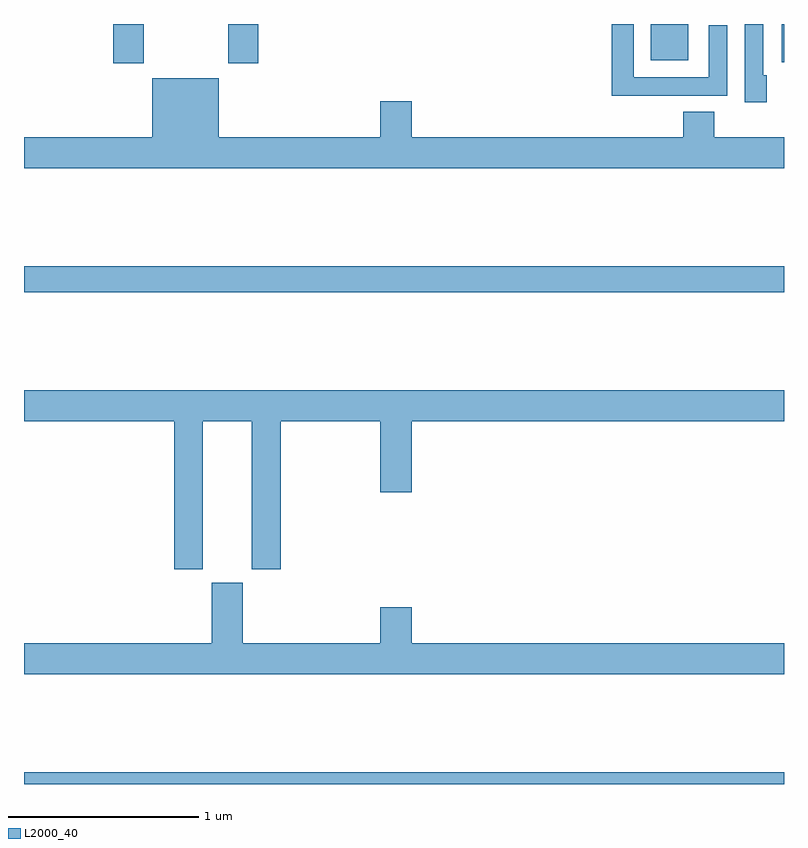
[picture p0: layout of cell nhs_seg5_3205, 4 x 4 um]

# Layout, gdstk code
import gdstk
lib = gdstk.Library(unit=1e-6, precision=1e-09)
def R(c, l, rs):  # rectangles x0, y0, x1, y1
    for r in rs: c.add(gdstk.rectangle(r[:2], r[2:], *l))
def P(c, l, *ps):  # polygons
    for p in ps: c.add(gdstk.Polygon(p, *l))
L2000_40 = (2000, 40)

nhs_seg5_3205 = lib.new_cell('nhs_seg5_3205')
R(nhs_seg5_3205, L2000_40, [(295,906.799,299,906.86), (295,909.388,299,909.524), (295.469,910.593,295.629,910.799), (296.074,910.593,296.234,910.799), (298.988,910.598,299,910.799), (298.298,910.607,298.495,910.799)])
P(nhs_seg5_3205, L2000_40, [(298.385,910.422),(298.701,910.422),(298.701,910.792),(298.605,910.792),(298.605,910.518),(298.209,910.518),(298.209,910.799),(298.093,910.799),(298.093,910.421),(298.385,910.421)],
  [(298.909,910.53),(298.89,910.53),(298.89,910.799),(298.794,910.799),(298.794,910.386),(298.909,910.386)],
  [(299,910.204),(298.634,910.204),(298.634,910.337),(298.469,910.337),(298.469,910.204),(297.04,910.204),(297.04,910.393),(296.876,910.393),(296.876,910.204),(296.026,910.204),(296.026,910.513),(295.676,910.513),(295.676,910.204),(295,910.204),(295,910.04),(299,910.04)],
  [(295.942,908.708),(296.198,908.708),(296.198,907.929),(296.351,907.929),(296.351,908.708),(296.876,908.708),(296.876,908.334),(297.04,908.334),(297.04,908.708),(299,908.708),(299,908.872),(295,908.872),(295,908.708),(295.79,908.708),(295.79,907.929),(295.942,907.929)],
  [(299,907.54),(297.04,907.54),(297.04,907.729),(296.876,907.729),(296.876,907.54),(296.152,907.54),(296.152,907.857),(295.988,907.857),(295.988,907.54),(295,907.54),(295,907.376),(299,907.376)])

lib.write_gds('nhs_seg5_3205.gds')
